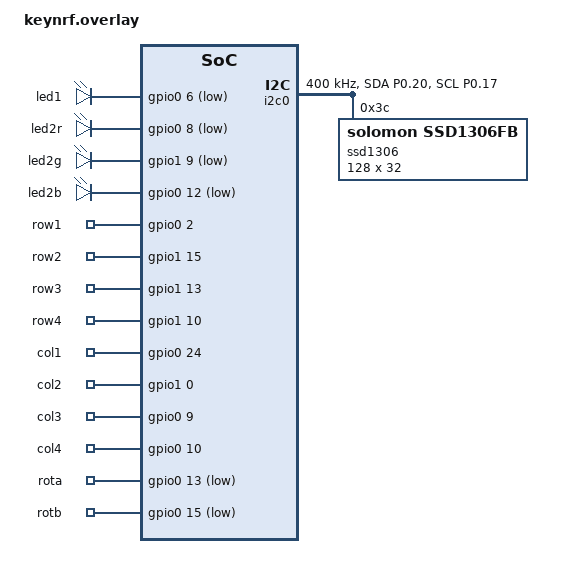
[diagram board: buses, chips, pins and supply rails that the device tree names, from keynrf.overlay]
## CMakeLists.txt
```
cmake_minimum_required(VERSION 3.13.1)
set(BOARD nrf52840dongle_nrf52840)
set(DTC_OVERLAY_FILE keynrf.overlay)
find_package(Zephyr)
project(keynrf)

include_directories(src)
target_sources(app PRIVATE src/main.c src/keys.c src/leds.c)

set_property(GLOBAL APPEND PROPERTY HEX_FILES_TO_MERGE
	${app_bootloader_hex}
	${PROJECT_BINARY_DIR}/${KERNEL_HEX_NAME}
	${app_provision_hex})
```

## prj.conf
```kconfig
CONFIG_GPIO=y
CONFIG_I2C=y
CONFIG_SENSOR=y
CONFIG_PWM=y
CONFIG_I2C_NRFX=y
#CONFIG_NRFX_TWI1=y
CONFIG_DISPLAY=y
CONFIG_SSD1306=y
CONFIG_SSD1306_DEFAULT=y
CONFIG_SSD1306_DEFAULT_CONTRAST=128
CONFIG_LOG=y
CONFIG_CHARACTER_FRAMEBUFFER=y
CONFIG_HEAP_MEM_POOL_SIZE=256
CONFIG_SERIAL=y
CONFIG_CONSOLE=y
```

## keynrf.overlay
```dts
/{
	leds {
		compatible = "gpio-leds";
		status = "okay";

		led1: led_1 {
			gpios = <&gpio0 6 (GPIO_ACTIVE_LOW)>;
		};

		// unused, using pwm from nrf52840_dongle .dts file
		led2r: led_2_r {
			gpios = <&gpio0 8 (GPIO_ACTIVE_LOW)>;
		};
		led2g: led_2_g {
			gpios = <&gpio1 9 (GPIO_ACTIVE_LOW)>;
		};
		led2b: led_2_b {	
			gpios = <&gpio0 12 (GPIO_ACTIVE_LOW)>;
		};
	};

	rows {
		compatible = "gpio-keys";
		status = "okay";

		row1: row_1 {
			gpios = <&gpio0 2 (GPIO_ACTIVE_HIGH | GPIO_PULL_DOWN)>;
		};
		row2: row_2 {
			gpios = <&gpio1 15 (GPIO_ACTIVE_HIGH | GPIO_PULL_DOWN)>;
		};
		row3: row_3 {
			gpios = <&gpio1 13 (GPIO_ACTIVE_HIGH | GPIO_PULL_DOWN)>;
		};
		row4: row_4 {
			gpios = <&gpio1 10 (GPIO_ACTIVE_HIGH | GPIO_PULL_DOWN)>;
		};
	};

	cols {
		compatible = "gpio-keys";
		status = "okay";

		col1: col_1 {
			gpios = <&gpio0 24 (GPIO_ACTIVE_HIGH)>;
		};
		col2: col_2 {
			gpios = <&gpio1 0 (GPIO_ACTIVE_HIGH)>;
		};
		col3: col_3 {
			gpios = <&gpio0 9 (GPIO_ACTIVE_HIGH)>;
		};
		col4: col_4 {
			gpios = <&gpio0 10 (GPIO_ACTIVE_HIGH)>;
		};
	};

	rotary: rotary-encoder {
		compatible = "gpio-keys";
		status = "okay";

		rota: rot_a {
			gpios = <&gpio0 13 (GPIO_ACTIVE_LOW | GPIO_PULL_UP)>;
		};
		rotb: rot_b {
			gpios = <&gpio0 15 (GPIO_ACTIVE_LOW | GPIO_PULL_UP)>;
		};
	};
};

&uart0 {
	compatible = "nordic,nrf-uarte";
	status = "disabled";
};

&pinctrl {
	i2c0_default_alt: i2c0_default_alt {
		group1 {
			psels = <NRF_PSEL(TWIM_SDA, 0, 20)>,
				<NRF_PSEL(TWIM_SCL, 0, 17)>;
			/* bias-pull-up; */
		};
	};
	i2c0_sleep_alt: i2c0_sleep_alt {
		group1 {
			psels = <NRF_PSEL(TWIM_SDA, 0, 20)>,
				<NRF_PSEL(TWIM_SCL, 0, 17)>;
			low-power-enable;
			/* bias-pull-up; */
		};
	};
};

&i2c0 {
	compatible = "nordic,nrf-twi";
	status = "okay";
	pinctrl-0 = <&i2c0_default_alt>;
	pinctrl-1 = <&i2c0_sleep_alt>;
	pinctrl-names = "default", "sleep";
	clock-frequency = <I2C_BITRATE_FAST>;

	ssd1306: ssd1306@3C {
		compatible = "solomon,ssd1306fb";
		status = "okay";
		reg = <0x3C>;
		height = <32>;
		width = <128>;
		segment-offset = <0>;
		page-offset = <0>;
		display-offset = <0>;
		multiplex-ratio = <31>;
		prechargep = <0xD1>;
		segment-remap;
		com-invdir;
	};

};
```

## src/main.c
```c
#include <stdint.h>
#include <keys.h>
#include <leds.h>
#include <zephyr/devicetree.h>
#include <zephyr/device.h>
#include <zephyr/kernel.h>
#include <zephyr/drivers/i2c.h>
#include <zephyr/drivers/gpio.h>
#include <zephyr/display/cfb.h>
#include <zephyr/logging/log.h>


static const struct gpio_dt_spec rota = GPIO_DT_SPEC_GET(DT_NODELABEL(rota), gpios);
static const struct gpio_dt_spec rotb = GPIO_DT_SPEC_GET(DT_NODELABEL(rotb), gpios);

LOG_MODULE_REGISTER(main);
static const struct device *display = DEVICE_DT_GET(DT_NODELABEL(ssd1306));
static const struct device *i2c = DEVICE_DT_GET(DT_NODELABEL(i2c0));

void key_callback(uint8_t key, uint8_t state) {
	LOG_INF("Key %i state: %i", key, state);
}

void scan_i2c() {
	for (int i = 0; i < 127; i++) LOG_INF("i2c: %x : %i", i, i2c_write(i2c, NULL, 0, i));
}

void config_gpio() {
	config_keys();
	set_keys_callback(key_callback);
	config_leds();
	//configure rotary encoder
	gpio_pin_configure_dt(&rota, GPIO_INPUT);
	gpio_pin_configure_dt(&rotb, GPIO_INPUT);
}

void loop(uint8_t r, uint8_t g, uint8_t b, uint8_t l1, uint32_t delay) {
	uint32_t lt = k_uptime_get();
	uint8_t roll = 0;
	while (1) {
		poll_keys();
		if (k_uptime_get() > lt + delay) {
			if (roll) set_led_2(r,g,b);
			else set_led_2(0,0,0);
			if (l1) toggle_led_1();
			roll = !roll;
			lt = k_uptime_get();
		}
	}
}

void main(void) {

	config_gpio();
	
	if (i2c == NULL || !device_is_ready(i2c)) {
		LOG_ERR("i2c device failed");
	}
	
	scan_i2c();
	
	if (display == NULL) {
		LOG_ERR("device pointer is NULL");
		loop(255, 0, 0, 0, 500);
	}
	LOG_INF("Device pointer not null");
	if (!device_is_ready(display)) {
		LOG_ERR("display device is not ready");
		loop(0, 127, 127, 0, 5000);
	}

	int ret;
	ret = cfb_framebuffer_init(display);
	if (ret != 0) {
		LOG_ERR("could not initialize display");
		loop(0, 0, 255, 0, 1000);	
	}

	ret = cfb_print(display, "Hello, world!", 0, 0);
	
	if (ret != 0) {
		LOG_ERR("could not print to display!");
		loop(0, 0, 0, 1, 250);
	}
	ret = cfb_framebuffer_finalize(display);
	if (ret != 0) {
		LOG_ERR("could not finalize to display");
		loop(0, 0, 255, 1, 400);
	}
	LOG_INF("Passed all tests!");
	loop(0,0,0,1,5000);
}
```

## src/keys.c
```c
#include <stdint.h>
#include <keys.h>
#include <zephyr/kernel.h>
#include <zephyr/devicetree.h>
#include <zephyr/device.h>
#include <zephyr/drivers/gpio.h>
#include <zephyr/logging/log.h>

#define DEBOUNCE_TIME 10

#define ROWS 4
#define COLS 4

static const struct gpio_dt_spec rows[ROWS] = {
	GPIO_DT_SPEC_GET(DT_NODELABEL(row1), gpios),
	GPIO_DT_SPEC_GET(DT_NODELABEL(row2), gpios),
	GPIO_DT_SPEC_GET(DT_NODELABEL(row3), gpios),
	GPIO_DT_SPEC_GET(DT_NODELABEL(row4), gpios)
};
static const struct gpio_dt_spec cols[COLS] = {
	GPIO_DT_SPEC_GET(DT_NODELABEL(col1), gpios),
	GPIO_DT_SPEC_GET(DT_NODELABEL(col2), gpios),
	GPIO_DT_SPEC_GET(DT_NODELABEL(col3), gpios),
	GPIO_DT_SPEC_GET(DT_NODELABEL(col4), gpios)
};

LOG_MODULE_REGISTER(keys);

static long btn_debounces[ROWS * COLS];
static uint8_t btn_states[ROWS * COLS];

void config_keys() {
	for (int r = 0; r < ROWS; r++) gpio_pin_configure_dt(&rows[r], GPIO_INPUT);
	for (int c = 0; c < COLS; c++) gpio_pin_configure_dt(&cols[c], GPIO_OUTPUT);
	for (int i = 0; i < ROWS * COLS; i++) btn_debounces[i] = 0;
}

static void (*key_event_callback)(uint8_t key, uint8_t state) = NULL;

void set_keys_callback(void (*cb)(uint8_t, uint8_t)) {
	key_event_callback = cb;
}

enum key_poll_states {
	col_change,
	poll_rows
};

static enum key_poll_states key_poll_state = 0;
static int col = 0;


void poll_keys() {
	
	switch (key_poll_state) {
		case col_change:
			{
				gpio_pin_set_dt(&cols[col], 0);
				col = (COLS + 1) % COLS;
				gpio_pin_set_dt(&cols[col], 1);
			}
			break;
		case poll_rows:
			{
				int c_o = col * ROWS;
				long current_time = k_uptime_get();
				for (int r = 0; r < ROWS; r++) {
					int current_state = gpio_pin_get_dt(&rows[r]);
					int btn = c_o+r; 
					if (btn_debounces[btn] && (btn_debounces[btn] + DEBOUNCE_TIME) < current_time ) {
						btn_debounces[btn] = 0;
						btn_states[btn] = current_state;
						if (btn_states[btn] != current_state && key_event_callback != NULL) key_event_callback(btn, current_state);
					} else if (btn_states[btn] != current_state) btn_debounces[btn] = current_time;
				}
			}
			break;
		default:
	}

	key_poll_state = (key_poll_state == poll_rows) ? 0 : key_poll_state + 1;
}
```

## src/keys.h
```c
#ifndef KEYNRF_KEYS_H
#define KEYNRF_KEYS_H

void config_keys();

void set_keys_callback(void (*cb)(uint8_t key, uint8_t state));

void poll_keys();

#endif /* KEYNRF_KEYS_H */
```

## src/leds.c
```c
#include <stdint.h>
#include <leds.h>
#include <zephyr/devicetree.h>
#include <zephyr/device.h>
#include <zephyr/drivers/pwm.h>
#include <zephyr/drivers/gpio.h>
#include <zephyr/logging/log.h>

static const struct gpio_dt_spec led1 = GPIO_DT_SPEC_GET(DT_NODELABEL(led1), gpios);

static const struct pwm_dt_spec led2_r = PWM_DT_SPEC_GET(DT_NODELABEL(red_pwm_led));
static const struct pwm_dt_spec led2_g = PWM_DT_SPEC_GET(DT_NODELABEL(green_pwm_led));
static const struct pwm_dt_spec led2_b = PWM_DT_SPEC_GET(DT_NODELABEL(blue_pwm_led));

LOG_MODULE_REGISTER(leds);


static uint32_t max_period;

static void set_pwm(const struct pwm_dt_spec * dev, uint8_t v) {
	uint32_t period = v * max_period / 255;
	if (pwm_set_pulse_dt(dev, period)) {
		LOG_ERR("Failed to set pulse %i from value %i, Max %i", period, v, max_period);
		return;
	}
}

void config_leds() {
	gpio_pin_configure_dt(&led1, GPIO_OUTPUT);
	
	gpio_pin_toggle_dt(&led1);

	if (!device_is_ready(led2_r.dev) || !device_is_ready(led2_g.dev) || !device_is_ready(led2_b.dev)) {
		LOG_ERR("PWM leds not ready!");
		return;
	}

	max_period = led2_r.period;
	LOG_INF("Period: %u", max_period);
	set_led_2(0, 0, 0);
}

void set_led_2(uint8_t r, uint8_t g, uint8_t b) {
	set_pwm(&led2_r, r);
	set_pwm(&led2_g, g);
	set_pwm(&led2_b, b);
}

void toggle_led_1() {
	gpio_pin_toggle_dt(&led1);
}
```

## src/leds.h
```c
#ifndef KEYNRF_LEDS_H
#define KEYNRF_LEDS_H

void config_leds();

void set_led_2(uint8_t r, uint8_t g, uint8_t b);

void toggle_led_1();

#endif /* KEYNRF_LEDS_H */
```
